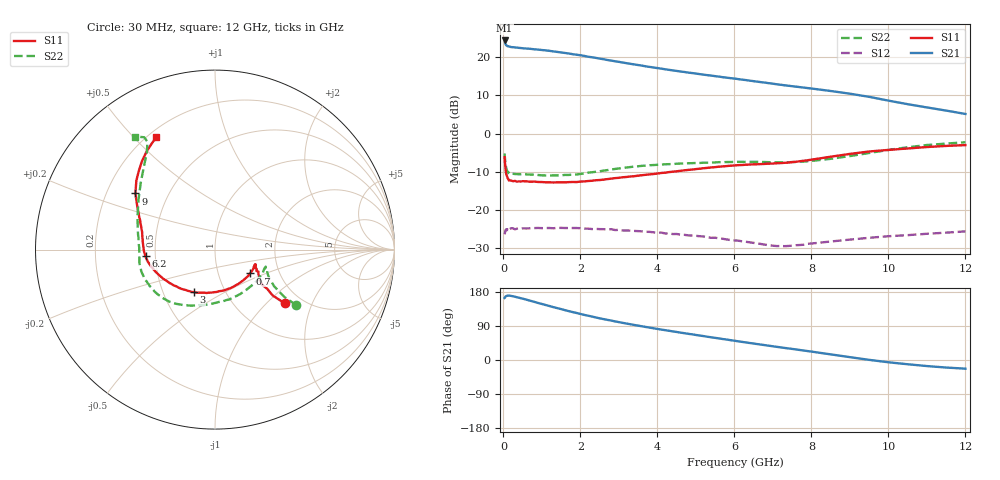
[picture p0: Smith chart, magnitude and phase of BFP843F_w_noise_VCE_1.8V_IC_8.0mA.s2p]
! Infineon Technologies  Discrete & RF Semiconductors
! BFP843F
! VCE =  1.8 V,  IC =  8.0 mA
! Common Emitter S-Parameters:  Aug 2013
# GHz  S  MA  R  50
!  f  S11  S21  S12  S22
! GHz  MAG  ANG  MAG  ANG  MAG  ANG  MAG  ANG
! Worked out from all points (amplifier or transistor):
!   103 points, 30 MHz to 12 GHz, reference 50 ohm
!   highest |S21| = 24.3 dB at 30 MHz (marker M1)
!   |S21| within 3 dB of that: start of sweep to 1.402 GHz
!   unconditionally stable (mu >= 1): 208.3 MHz to 776.2 MHz; 2.621 GHz to end of sweep
!   at 400 MHz: K = 1.01, MAG = 23.1 dB, |S12| = -24.8 dB
!   at 3.7 GHz: K = 1.09, MAG = 19.8 dB, |S12| = -25.6 dB
!   at 12 GHz: K = 1.35, MAG = 11.8 dB, |S12| = -25.5 dB
!   lowest NFmin = 0.80 dB at 450 MHz
!   S11 on the Smith chart (normalised r, x): 30 MHz: 1.64, -1.29; 700 MHz: 1.42, -0.40; 3 GHz: 0.71, -0.36; 6.2 GHz: 0.44, -0.04; 9 GHz: 0.32, +0.29; 12 GHz: 0.23, +0.58
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0.03  0.4904 -37.6  16.42 163.7  0.0483 32.1  0.5496 -34.4
0.04  0.4104 -38.5  15.45 164.6  0.0509 25.4  0.4672 -34.3
0.05  0.3638 -36.9  14.78 167.2  0.0545 18.7  0.4184 -32.9
0.06  0.3288 -36.8  14.52 168.1  0.0553 17.5  0.3856 -31.7
0.1  0.2711 -26.8  13.83 169.6  0.0565 9.3  0.3199 -24.1
0.15  0.2456 -23.2  13.68 169.9  0.0563 7.3  0.302 -20.5
0.7  0.2351 -34.4  12.76 156.3  0.0581 0.5  0.291 -33.4
1.3  0.2299 -59.9  11.81 139.4  0.0581 -2.7  0.2849 -60.1
1.7  0.2324 -76.4  11.09 128.9  0.0585 -4.2  0.2883 -77.5
2.1  0.2374 -91.5  10.31 119.0  0.0575 -6.2  0.3019 -93.3
2.5  0.2474 -103.9  9.526 110.0  0.0566 -8.6  0.322 -106.0
3  0.2645 -116.6  8.628 99.9  0.0554 -10.7  0.3508 -118.0
3.4  0.2778 -125.9  7.996 92.4  0.0536 -11.5  0.3711 -125.4
4.1  0.3059 -139.8  7.035 80.3  0.051 -12.8  0.3942 -135.8
5  0.3438 -156.0  6.073 66.1  0.0463 -14.1  0.4128 -148.0
6.1  0.3873 -173.1  5.137 49.3  0.04 -12.2  0.4277 -163.2
6.2  0.3888 -174.8  5.055 47.8  0.0392 -12.1  0.4276 -164.7
7  0.4062 172.5  4.478 36.1  0.0344 -3.9  0.4224 -175.8
8.5  0.4985 150.5  3.594 14.9  0.039 12.6  0.4679 157.4
9  0.5427 144.8  3.314 7.5  0.0413 15.1  0.5083 147.0
10.5  0.6388 129.6  2.419 -11.2  0.0472 17.6  0.6626 124.9
12  0.7068 117.5  1.803 -22.9  0.0529 22.0  0.771 125.2
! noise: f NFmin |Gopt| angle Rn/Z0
0.45  0.8  0.07  14  0.04
0.9  0.8  0.07  26  0.04
1.5  0.84  0.07  41  0.05
1.9  0.9  0.08  59  0.05
2.4  0.94  0.08  75  0.05
3.5  1  0.1  108  0.11
5.5  1.11  0.16  173  0.16
10  1.71  0.37  -118  0.26
